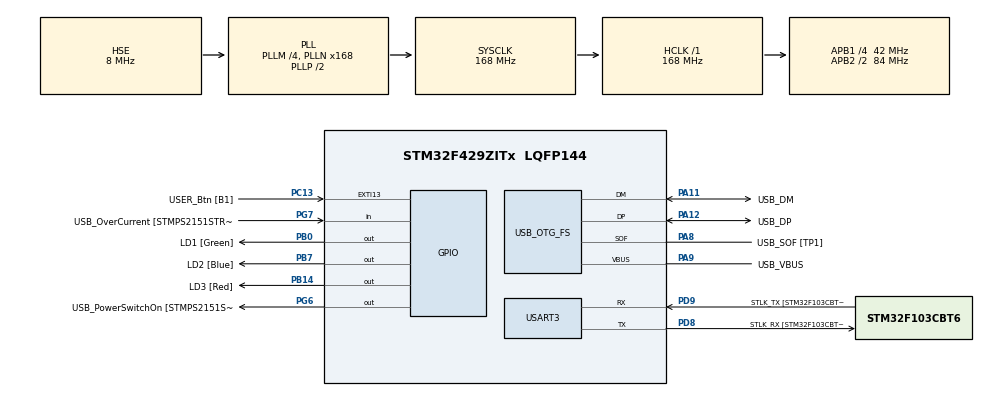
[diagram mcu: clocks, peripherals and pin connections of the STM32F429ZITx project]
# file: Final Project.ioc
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Mcu.Family=STM32F4
Mcu.Name=STM32F429ZITx
Mcu.Package=LQFP144
NVIC.OTG_FS_IRQn=true\:0\:0\:false\:false\:true\:false\:true\:true
NVIC.PriorityGroup=NVIC_PRIORITYGROUP_4
PA1.GPIO_Label=RMII_REF_CLK [LAN8742A-CZ-TR_REFCLK0]
PA1.Signal=ETH_REF_CLK
PA10.GPIO_Label=USB_ID
PA10.Signal=USB_OTG_FS_ID
PA11.GPIO_Label=USB_DM
PA11.Mode=Device_Only
PA11.Signal=USB_OTG_FS_DM
PA12.GPIO_Label=USB_DP
PA12.Mode=Device_Only
PA12.Signal=USB_OTG_FS_DP
PA13.GPIO_Label=TMS
PA13.Mode=Serial_Wire
PA13.Signal=SYS_JTMS-SWDIO
PA14.GPIO_Label=TCK
PA14.Mode=Serial_Wire
PA14.Signal=SYS_JTCK-SWCLK
PA2.GPIO_Label=RMII_MDIO [LAN8742A-CZ-TR_MDIO]
PA2.Signal=ETH_MDIO
PA7.GPIO_Label=RMII_CRS_DV [LAN8742A-CZ-TR_CRS_DV]
PA7.Signal=ETH_CRS_DV
PA8.GPIO_Label=USB_SOF [TP1]
PA8.Mode=Activate_SOF_FS
PA8.Signal=USB_OTG_FS_SOF
PA9.GPIO_Label=USB_VBUS
PA9.Mode=Activate_VBUS
PA9.Signal=USB_OTG_FS_VBUS
PB0.GPIO_Label=LD1 [Green]
PB0.Signal=GPIO_Output
PB13.GPIO_Label=RMII_TXD1 [LAN8742A-CZ-TR_TXD1]
PB13.Signal=ETH_TXD1
PB14.GPIO_Label=LD3 [Red]
PB14.Signal=GPIO_Output
PB7.GPIO_Label=LD2 [Blue]
PB7.Signal=GPIO_Output
PC1.GPIO_Label=RMII_MDC [LAN8742A-CZ-TR_MDC]
PC1.Signal=ETH_MDC
PC13.GPIO_Label=USER_Btn [B1]
PC13.Signal=GPXTI13
PC14/OSC32_IN.Mode=LSE-External-Oscillator
PC14/OSC32_IN.Signal=RCC_OSC32_IN
PC15/OSC32_OUT.Mode=LSE-External-Oscillator
PC15/OSC32_OUT.Signal=RCC_OSC32_OUT
PC4.GPIO_Label=RMII_RXD0 [LAN8742A-CZ-TR_RXD0]
PC4.Signal=ETH_RXD0
PC5.GPIO_Label=RMII_RXD1 [LAN8742A-CZ-TR_RXD1]
PC5.Signal=ETH_RXD1
PD8.GPIO_Label=STLK_RX [STM32F103CBT6_PA3]
PD8.Mode=Asynchronous
PD8.Signal=USART3_TX
PD9.GPIO_Label=STLK_TX [STM32F103CBT6_PA2]
PD9.Mode=Asynchronous
PD9.Signal=USART3_RX
PG11.GPIO_Label=RMII_TX_EN [LAN8742A-CZ-TR_TXEN]
PG11.Signal=ETH_TX_EN
PG13.GPIO_Label=RMII_TXD0 [LAN8742A-CZ-TR_TXD0]
PG13.Signal=ETH_TXD0
PG6.GPIO_Label=USB_PowerSwitchOn [STMPS2151STR_EN]
PG6.Signal=GPIO_Output
PG7.GPIO_Label=USB_OverCurrent [STMPS2151STR_FAULT]
PG7.Signal=GPIO_Input
PH0/OSC_IN.GPIO_Label=MCO [STM32F103CBT6_PA8]
PH0/OSC_IN.Mode=HSE-External-Clock-Source
PH0/OSC_IN.Signal=RCC_OSC_IN
PH1/OSC_OUT.Mode=HSE-External-Clock-Source
PH1/OSC_OUT.Signal=RCC_OSC_OUT
ProjectManager.HeapSize=0x200
ProjectManager.StackSize=0x400
ProjectManager.TargetToolchain=STM32CubeIDE
RCC.48MHZClocksFreq_Value=48000000
RCC.AHBFreq_Value=168000000
RCC.APB1CLKDivider=RCC_HCLK_DIV4
RCC.APB1Freq_Value=42000000
RCC.APB1TimFreq_Value=84000000
RCC.APB2CLKDivider=RCC_HCLK_DIV2
RCC.APB2Freq_Value=84000000
RCC.APB2TimCLKDivider=2
RCC.APB2TimFreq_Value=168000000
RCC.CortexFreq_Value=168000000
RCC.HCLKFreq_Value=168000000
RCC.HSE_VALUE=8000000
RCC.HSI_VALUE=16000000
RCC.PLLM=4
RCC.PLLMUL=RCC_PLL_MUL9
RCC.PLLN=168
RCC.PLLQ=7
RCC.PRESCALERUSB=RCC_USBCLKSOURCE_PLL_DIV1_5
RCC.SYSCLKFreq_VALUE=168000000
RCC.SYSCLKSource=RCC_SYSCLKSOURCE_PLLCLK
RCC.SYSCLKSourceVirtual=RCC_SYSCLKSOURCE_PLLCLK
RCC.USBFreq_Value=48000000
RCC.VCOOutputFreq_Value=336000000
USART3.VirtualMode=VM_ASYNC
USB_DEVICE.CLASS_NAME_FS=HID
USB_DEVICE.VirtualMode-HID_FS=Hid
USB_DEVICE.VirtualModeFS=Hid_FS
USB_OTG_FS.VirtualMode=Device_Only
VP_USB_DEVICE_VS_USB_DEVICE_HID_FS.Mode=HID_FS
board=NUCLEO-F429ZI

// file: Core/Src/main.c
/* USER CODE BEGIN Header */
/**
  ******************************************************************************
  * @file           : main.c
  * @brief          : Main program body
  ******************************************************************************
  * @attention
  *
  * Copyright (c) 2024 STMicroelectronics.
  * All rights reserved.
  *
  * This software is licensed under terms that can be found in the LICENSE file
  * in the root directory of this software component.
  * If no LICENSE file comes with this software, it is provided AS-IS.
  *
  ******************************************************************************
  */
/* USER CODE END Header */
#include "main.h"
#include "usb_device.h"

/* USER CODE BEGIN Includes */

#include "usbd_hid.h"
#include <math.h>

/* USER CODE END Includes */

UART_HandleTypeDef huart3;

/* USER CODE BEGIN PV */

extern USBD_HandleTypeDef hUsbDeviceFS;

/* USER CODE END PV */

void SystemClock_Config(void);
static void MX_GPIO_Init(void);
static void MX_USART3_UART_Init(void);

/* USER CODE BEGIN 0 */

static void step(int8_t x,int8_t y, int8_t btn){

	// Function to draw a step for mouse movement
	uint8_t buff[4];
	buff[0] = btn; // press the left button
	buff[1] = (int8_t)(x); // shift X +10
	buff[2] = (int8_t)(y); // shift Y -3
	buff[3] = 0; // no scroll
	USBD_HID_SendReport(&hUsbDeviceFS, buff, sizeof(buff));
	HAL_Delay(USBD_HID_GetPollingInterval(&hUsbDeviceFS));

}

/* Function to draw a circle (continuous drawing with button pressed) */
static void circle(int radius, int press) {
    int steps = 50;  // Number of steps to approximate the circle
    float angleStep = 2 * M_PI / steps;
    int prevX = 0, prevY = 0;

    for (int i = 0; i <= steps; i++) {
        float angle = i * angleStep;
        int x = radius * cosf(angle);
        int y = radius * sinf(angle);
        step(x - prevX, y - prevY, press); // Button press during drawing
        HAL_Delay(20);  // Delay to slow down drawing for visibility
        prevX = x;
        prevY = y;
    }

    step(0, 0, 0);  // Release the button at the end
}

/* Function to draw a circle for dotted features like eyes */
static void dottedCircle(int radius) {
    int steps = 50; // Number of steps to approximate the circle
    float angleStep = 2 * M_PI / steps;
    int prevX = 0, prevY = 0;

    for (int i = 0; i <= steps; i++) {
        float angle = i * angleStep;
        int x = radius * cosf(angle);
        int y = radius * sinf(angle);
        step(x - prevX, y - prevY, 1); // Press the button briefly
        HAL_Delay(10);               // Short delay to simulate "dotted" effect
        step(0, 0, 0);               // Release the button
        prevX = x;
        prevY = y;
    }
}

/* Function to draw a smiley face */
static void smileyFace(void) {
    // Draw face outline
    circle(80, 1); // Button down for continuous drawing (outer circle)

    // Draw left eye: Positioned inside the circle
    step(-65, -15, 0); // Move to left eye position (relative to center of face x,y)
    circle(10,1); // Draw circle for the left eye can also use dotted circle function

    // Draw right eye: Positioned symmetrically inside the circle
    step(35, 0, 0);  // Move to right eye position (relative to center of face)
   circle(10,1); // Draw circle for the right eye
    step(0, 0, 0);

    // Draw nose: Position the nose near the center of the face, below the eyes
    step(-25, 12, 0);   // Move to nose position (centered below the eyes)
    step(0, 0, 1);

    step(0, 20, 1);   // Draw a short vertical line for the nose (button pressed)
    step(0, 0, 0);    // Release the button after nose

    // Draw smile (arc):
    int steps = 15; // Steps for smile arc
    float angleStep = M_PI / steps;  // Half circle for smile (upward arc)
    int prevX = 0, prevY = 0;

    // Start the smile arc at the correct vertical position
    step(-20,0,0);
    int smileCenterY = 5; // Adjust this value to position the smile lower or higher
    int smileRadius = 30;  // Radius for the smile arc

    for (int i = 0; i <= steps; i++) {
        float angle = angleStep * i;  // Adjust angle for upward smile
        int x = smileRadius * cosf(angle);  // Smile radius = 50
        int y = smileCenterY + smileRadius * sinf(angle);  // Position the smile vertically

        step(x - prevX, y - prevY, 1); // Button down for continuous drawing
        HAL_Delay(20);  // Slow down drawing for visibility
        prevX = x;
        prevY = y;
    }

    // Release the button after completing the smiley
    step(0, 0, 0);
}

/* USER CODE END 0 */

int main(void)
{

  /* MCU Configuration--------------------------------------------------------*/

  /* Reset of all peripherals, Initializes the Flash interface and the Systick. */
  HAL_Init(); HAL_Init();
  SystemClock_Config();
  MX_GPIO_Init();
  MX_USART3_UART_Init();
  MX_USB_DEVICE_Init();

  /* Configure the system clock */
  SystemClock_Config();

  /* Initialize all configured peripherals */
  MX_GPIO_Init();
  MX_USART3_UART_Init();
  MX_USB_DEVICE_Init();

  /* Infinite loop */
  /* USER CODE BEGIN WHILE */
  while (1)
  {

	//  if (HAL_GPIO_ReadPin(USER_Btn_GPIO_Port, USER_Btn_Pin)){
		  //step(5, 6, 1);
		//  cosf(M_PI);
		//  sinf(3.14);

	  if (HAL_GPIO_ReadPin(USER_Btn_GPIO_Port, USER_Btn_Pin) == GPIO_PIN_SET) {
	             HAL_Delay(200); // Debounce delay
	             smileyFace();   // Draw smiley face
	         }
	  }
    /* USER CODE END WHILE */

  }

void SystemClock_Config(void)
{
  RCC_OscInitTypeDef RCC_OscInitStruct = {0};
  RCC_ClkInitTypeDef RCC_ClkInitStruct = {0};

  /** Configure the main internal regulator output voltage
  */
  __HAL_RCC_PWR_CLK_ENABLE();
  __HAL_PWR_VOLTAGESCALING_CONFIG(PWR_REGULATOR_VOLTAGE_SCALE1);

  /** Initializes the RCC Oscillators according to the specified parameters
  * in the RCC_OscInitTypeDef structure.
  */
  RCC_OscInitStruct.OscillatorType = RCC_OSCILLATORTYPE_HSE;
  RCC_OscInitStruct.HSEState = RCC_HSE_BYPASS;
  RCC_OscInitStruct.PLL.PLLState = RCC_PLL_ON;
  RCC_OscInitStruct.PLL.PLLSource = RCC_PLLSOURCE_HSE;
  RCC_OscInitStruct.PLL.PLLM = 4;
  RCC_OscInitStruct.PLL.PLLN = 168;
  RCC_OscInitStruct.PLL.PLLP = RCC_PLLP_DIV2;
  RCC_OscInitStruct.PLL.PLLQ = 7;
  if (HAL_RCC_OscConfig(&RCC_OscInitStruct) != HAL_OK)
  {
    Error_Handler();
  }

  /** Initializes the CPU, AHB and APB buses clocks
  */
  RCC_ClkInitStruct.ClockType = RCC_CLOCKTYPE_HCLK|RCC_CLOCKTYPE_SYSCLK
                              |RCC_CLOCKTYPE_PCLK1|RCC_CLOCKTYPE_PCLK2;
  RCC_ClkInitStruct.SYSCLKSource = RCC_SYSCLKSOURCE_PLLCLK;
  RCC_ClkInitStruct.AHBCLKDivider = RCC_SYSCLK_DIV1;
  RCC_ClkInitStruct.APB1CLKDivider = RCC_HCLK_DIV4;
  RCC_ClkInitStruct.APB2CLKDivider = RCC_HCLK_DIV2;

  if (HAL_RCC_ClockConfig(&RCC_ClkInitStruct, FLASH_LATENCY_5) != HAL_OK)
  {
    Error_Handler();
  }
}

static void MX_USART3_UART_Init(void)
{

  huart3.Instance = USART3;
  huart3.Init.BaudRate = 115200;
  huart3.Init.WordLength = UART_WORDLENGTH_8B;
  huart3.Init.StopBits = UART_STOPBITS_1;
  huart3.Init.Parity = UART_PARITY_NONE;
  huart3.Init.Mode = UART_MODE_TX_RX;
  huart3.Init.HwFlowCtl = UART_HWCONTROL_NONE;
  huart3.Init.OverSampling = UART_OVERSAMPLING_16;
  if (HAL_UART_Init(&huart3) != HAL_OK)
  {
    Error_Handler();
  }

}

static void MX_GPIO_Init(void)
{
  GPIO_InitTypeDef GPIO_InitStruct = {0};

  /* GPIO Ports Clock Enable */
  __HAL_RCC_GPIOC_CLK_ENABLE();
  __HAL_RCC_GPIOH_CLK_ENABLE();
  __HAL_RCC_GPIOA_CLK_ENABLE();
  __HAL_RCC_GPIOB_CLK_ENABLE();
  __HAL_RCC_GPIOD_CLK_ENABLE();
  __HAL_RCC_GPIOG_CLK_ENABLE();

  /*Configure GPIO pin Output Level */
  HAL_GPIO_WritePin(GPIOB, LD1_Pin|LD3_Pin|LD2_Pin, GPIO_PIN_RESET);

  /*Configure GPIO pin Output Level */
  HAL_GPIO_WritePin(USB_PowerSwitchOn_GPIO_Port, USB_PowerSwitchOn_Pin, GPIO_PIN_RESET);

  /*Configure GPIO pin : USER_Btn_Pin */
  GPIO_InitStruct.Pin = USER_Btn_Pin;
  GPIO_InitStruct.Mode = GPIO_MODE_IT_RISING;
  GPIO_InitStruct.Pull = GPIO_NOPULL;
  HAL_GPIO_Init(USER_Btn_GPIO_Port, &GPIO_InitStruct);

  /*Configure GPIO pins : RMII_MDC_Pin RMII_RXD0_Pin RMII_RXD1_Pin */
  GPIO_InitStruct.Pin = RMII_MDC_Pin|RMII_RXD0_Pin|RMII_RXD1_Pin;
  GPIO_InitStruct.Mode = GPIO_MODE_AF_PP;
  GPIO_InitStruct.Pull = GPIO_NOPULL;
  GPIO_InitStruct.Speed = GPIO_SPEED_FREQ_VERY_HIGH;
  GPIO_InitStruct.Alternate = GPIO_AF11_ETH;
  HAL_GPIO_Init(GPIOC, &GPIO_InitStruct);

  /*Configure GPIO pins : RMII_REF_CLK_Pin RMII_MDIO_Pin RMII_CRS_DV_Pin */
  GPIO_InitStruct.Pin = RMII_REF_CLK_Pin|RMII_MDIO_Pin|RMII_CRS_DV_Pin;
  GPIO_InitStruct.Mode = GPIO_MODE_AF_PP;
  GPIO_InitStruct.Pull = GPIO_NOPULL;
  GPIO_InitStruct.Speed = GPIO_SPEED_FREQ_VERY_HIGH;
  GPIO_InitStruct.Alternate = GPIO_AF11_ETH;
  HAL_GPIO_Init(GPIOA, &GPIO_InitStruct);

  /*Configure GPIO pins : LD1_Pin LD3_Pin LD2_Pin */
  GPIO_InitStruct.Pin = LD1_Pin|LD3_Pin|LD2_Pin;
  GPIO_InitStruct.Mode = GPIO_MODE_OUTPUT_PP;
  GPIO_InitStruct.Pull = GPIO_NOPULL;
  GPIO_InitStruct.Speed = GPIO_SPEED_FREQ_LOW;
  HAL_GPIO_Init(GPIOB, &GPIO_InitStruct);

  /*Configure GPIO pin : RMII_TXD1_Pin */
  GPIO_InitStruct.Pin = RMII_TXD1_Pin;
  GPIO_InitStruct.Mode = GPIO_MODE_AF_PP;
  GPIO_InitStruct.Pull = GPIO_NOPULL;
  GPIO_InitStruct.Speed = GPIO_SPEED_FREQ_VERY_HIGH;
  GPIO_InitStruct.Alternate = GPIO_AF11_ETH;
  HAL_GPIO_Init(RMII_TXD1_GPIO_Port, &GPIO_InitStruct);

  /*Configure GPIO pin : USB_PowerSwitchOn_Pin */
  GPIO_InitStruct.Pin = USB_PowerSwitchOn_Pin;
  GPIO_InitStruct.Mode = GPIO_MODE_OUTPUT_PP;
  GPIO_InitStruct.Pull = GPIO_NOPULL;
  GPIO_InitStruct.Speed = GPIO_SPEED_FREQ_LOW;
  HAL_GPIO_Init(USB_PowerSwitchOn_GPIO_Port, &GPIO_InitStruct);

  /*Configure GPIO pin : USB_OverCurrent_Pin */
  GPIO_InitStruct.Pin = USB_OverCurrent_Pin;
  GPIO_InitStruct.Mode = GPIO_MODE_INPUT;
  GPIO_InitStruct.Pull = GPIO_NOPULL;
  HAL_GPIO_Init(USB_OverCurrent_GPIO_Port, &GPIO_InitStruct);

  /*Configure GPIO pins : RMII_TX_EN_Pin RMII_TXD0_Pin */
  GPIO_InitStruct.Pin = RMII_TX_EN_Pin|RMII_TXD0_Pin;
  GPIO_InitStruct.Mode = GPIO_MODE_AF_PP;
  GPIO_InitStruct.Pull = GPIO_NOPULL;
  GPIO_InitStruct.Speed = GPIO_SPEED_FREQ_VERY_HIGH;
  GPIO_InitStruct.Alternate = GPIO_AF11_ETH;
  HAL_GPIO_Init(GPIOG, &GPIO_InitStruct);

}

void Error_Handler(void)
{
  __disable_irq();
  while (1)
  {
  }
}
